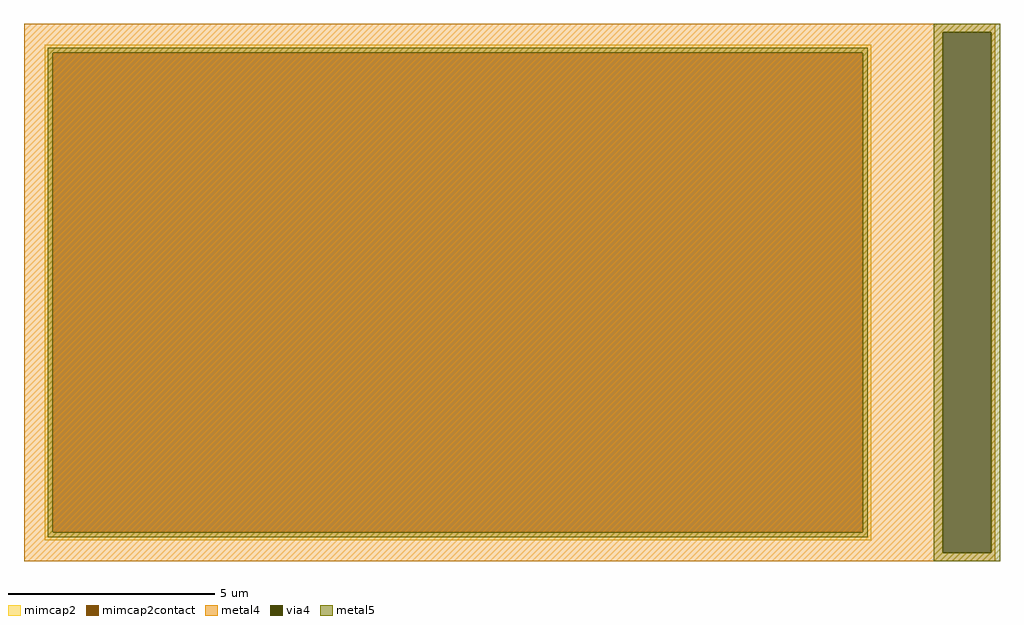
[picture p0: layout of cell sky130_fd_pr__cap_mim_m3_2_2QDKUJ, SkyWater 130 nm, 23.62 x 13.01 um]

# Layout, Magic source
magic
tech sky130B
magscale 1 2
<< metal4 >>
rect -2351 1259 2351 1300
rect -2351 -1259 2095 1259
rect 2331 -1259 2351 1259
rect -2351 -1300 2351 -1259
<< via4 >>
rect 2095 -1259 2331 1259
<< mimcap2 >>
rect -2251 1160 1749 1200
rect -2251 -1160 -2211 1160
rect 1709 -1160 1749 1160
rect -2251 -1200 1749 -1160
<< mimcap2contact >>
rect -2211 -1160 1709 1160
<< metal5 >>
rect 2053 1259 2373 1301
rect -2235 1160 1733 1184
rect -2235 -1160 -2211 1160
rect 1709 -1160 1733 1160
rect -2235 -1184 1733 -1160
rect 2053 -1259 2095 1259
rect 2331 -1259 2373 1259
rect 2053 -1301 2373 -1259
<< properties >>
string FIXED_BBOX -2351 -1300 1849 1300
string gencell sky130_fd_pr__cap_mim_m3_2
string library sky130
string parameters w 20 l 12 val 492.16 carea 2.00 cperi 0.19 nx 1 ny 1 dummy 0 square 0 lmin 2.00 wmin 2.00 lmax 30.0 wmax 30.0 dc 0 bconnect 1 tconnect 1 ccov 100
<< end >>
